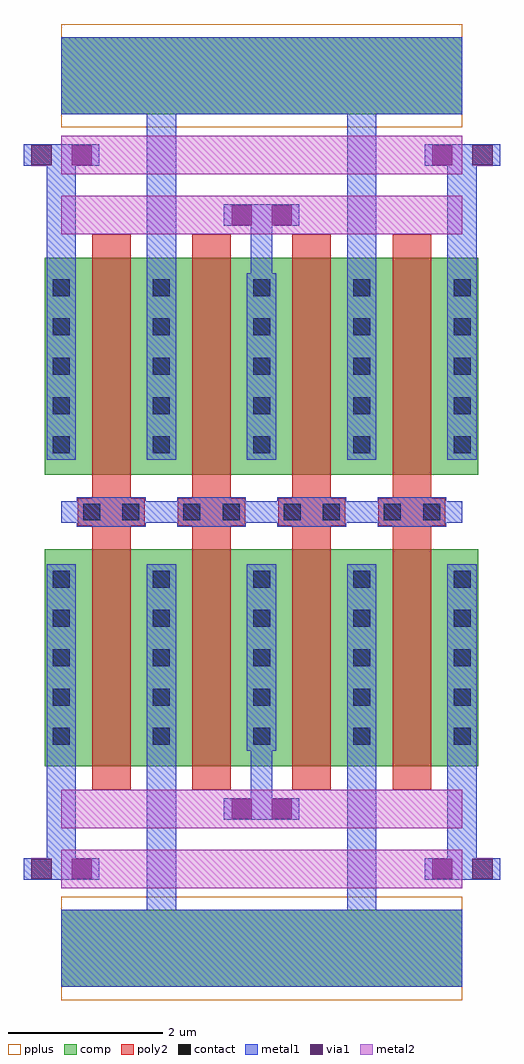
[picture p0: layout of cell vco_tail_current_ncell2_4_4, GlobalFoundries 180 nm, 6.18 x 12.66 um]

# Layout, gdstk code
import gdstk
lib = gdstk.Library(unit=1e-6, precision=5e-09)
def R(c, l, rs):  # rectangles x0, y0, x1, y1
    for r in rs: c.add(gdstk.rectangle(r[:2], r[2:], *l))
def A(c, l, x, y, w, h, nx, ny, dx, dy):  # array of equal rectangles
    R(c, l, [(x+i*dx, y+j*dy, x+i*dx+w, y+j*dy+h) for i in range(nx) for j in range(ny)])
comp = (22, 0)
poly2 = (30, 0)
pplus = (31, 0)
contact = (33, 0)
metal1 = (34, 0)
via1 = (35, 0)
metal2 = (36, 0)

vco_tail_current_ncell2_ = lib.new_cell('vco_tail_current_ncell2_1$2')
R(vco_tail_current_ncell2_, comp, [(0,0.3,0.42,3.12), (0.42,0.3,1.3,3.12), (1.3,0.3,1.72,3.12)])
R(vco_tail_current_ncell2_, poly2, [(0.61,0,1.11,3.42)])
A(vco_tail_current_ncell2_, contact, 0.1, 0.58, 0.22, 0.22, 1, 5, 0, 0.51)
A(vco_tail_current_ncell2_, contact, 1.4, 0.58, 0.22, 0.22, 1, 5, 0, 0.51)
R(vco_tail_current_ncell2_, metal1, [(0.02,0.5,0.4,2.92), (1.32,0.5,1.7,2.92)])

c_vco_tail_current_ncell2_ = lib.new_cell('vco_tail_current_ncell2_4')
A(c_vco_tail_current_ncell2_, poly2, 0.425, 3.42, 0.87, 0.36, 4, 1, 1.3, 0)
R(c_vco_tail_current_ncell2_, contact, [(0.495,3.49,0.715,3.71), (1.005,3.49,1.225,3.71), (1.795,3.49,2.015,3.71), (2.305,3.49,2.525,3.71), (3.095,3.49,3.315,3.71), (3.605,3.49,3.825,3.71), (4.395,3.49,4.615,3.71), (4.905,3.49,5.125,3.71)])
A(c_vco_tail_current_ncell2_, metal1, 0.415, 3.41, 0.89, 0.38, 4, 1, 1.3, 0)
c_vco_tail_current_ncell2_.add(gdstk.Reference(vco_tail_current_ncell2_, (0,0)))
c_vco_tail_current_ncell2_.add(gdstk.Reference(vco_tail_current_ncell2_, (1.3,0)))
c_vco_tail_current_ncell2_.add(gdstk.Reference(vco_tail_current_ncell2_, (2.6,0)))
c_vco_tail_current_ncell2_.add(gdstk.Reference(vco_tail_current_ncell2_, (3.9,0)))

c_vco_tail_current_ncell2__ = lib.new_cell('vco_tail_current_ncell2_4_4')
R(c_vco_tail_current_ncell2__, via1, [(0.1,1.57,0.36,1.83), (0.62,1.57,0.88,1.83), (5.3,1.57,5.56,1.83), (5.82,1.57,6.08,1.83), (2.695,2.35,2.955,2.61), (3.215,2.35,3.475,2.61), (2.695,10.05,2.955,10.31), (3.215,10.05,3.475,10.31), (0.1,10.83,0.36,11.09), (0.62,10.83,0.88,11.09), (5.3,10.83,5.56,11.09), (5.82,10.83,6.08,11.09)])
c_vco_tail_current_ncell2__.add(gdstk.FlexPath([(0,10.96),(0.98,10.96)], 0.28, ends="flush", simple_path=True, layer=34, datatype=0))  # metal1
c_vco_tail_current_ncell2__.add(gdstk.FlexPath([(5.2,10.96),(6.18,10.96)], 0.28, ends="flush", simple_path=True, layer=34, datatype=0))  # metal1
c_vco_tail_current_ncell2__.add(gdstk.FlexPath([(0.485,11.99),(5.685,11.99)], 1, ends="flush", simple_path=True, layer=34, datatype=0))  # metal1
c_vco_tail_current_ncell2__.add(gdstk.FlexPath([(2.595,10.18),(3.575,10.18)], 0.28, ends="flush", simple_path=True, layer=34, datatype=0))  # metal1
c_vco_tail_current_ncell2__.add(gdstk.FlexPath([(3.085,9.43),(3.085,10.04)], 0.28, ends="flush", simple_path=True, layer=34, datatype=0))  # metal1
c_vco_tail_current_ncell2__.add(gdstk.FlexPath([(0.485,9.43),(0.485,10.82)], 0.38, ends="flush", simple_path=True, layer=34, datatype=0))  # metal1
c_vco_tail_current_ncell2__.add(gdstk.FlexPath([(5.685,9.43),(5.685,10.82)], 0.38, ends="flush", simple_path=True, layer=34, datatype=0))  # metal1
c_vco_tail_current_ncell2__.add(gdstk.FlexPath([(1.785,11.49),(1.785,9.43)], 0.38, ends="flush", simple_path=True, layer=34, datatype=0))  # metal1
c_vco_tail_current_ncell2__.add(gdstk.FlexPath([(4.385,11.49),(4.385,9.43)], 0.38, ends="flush", simple_path=True, layer=34, datatype=0))  # metal1
c_vco_tail_current_ncell2__.add(gdstk.FlexPath([(0,1.7),(0.98,1.7)], 0.28, ends="flush", simple_path=True, layer=34, datatype=0))  # metal1
c_vco_tail_current_ncell2__.add(gdstk.FlexPath([(5.2,1.7),(6.18,1.7)], 0.28, ends="flush", simple_path=True, layer=34, datatype=0))  # metal1
c_vco_tail_current_ncell2__.add(gdstk.FlexPath([(0.485,0.67),(5.685,0.67)], 1, ends="flush", simple_path=True, layer=34, datatype=0))  # metal1
c_vco_tail_current_ncell2__.add(gdstk.FlexPath([(2.595,2.48),(3.575,2.48)], 0.28, ends="flush", simple_path=True, layer=34, datatype=0))  # metal1
c_vco_tail_current_ncell2__.add(gdstk.FlexPath([(3.085,3.23),(3.085,2.62)], 0.28, ends="flush", simple_path=True, layer=34, datatype=0))  # metal1
c_vco_tail_current_ncell2__.add(gdstk.FlexPath([(0.485,3.23),(0.485,1.84)], 0.38, ends="flush", simple_path=True, layer=34, datatype=0))  # metal1
c_vco_tail_current_ncell2__.add(gdstk.FlexPath([(5.685,3.23),(5.685,1.84)], 0.38, ends="flush", simple_path=True, layer=34, datatype=0))  # metal1
c_vco_tail_current_ncell2__.add(gdstk.FlexPath([(1.785,1.17),(1.785,3.23)], 0.38, ends="flush", simple_path=True, layer=34, datatype=0))  # metal1
c_vco_tail_current_ncell2__.add(gdstk.FlexPath([(4.385,1.17),(4.385,3.23)], 0.38, ends="flush", simple_path=True, layer=34, datatype=0))  # metal1
c_vco_tail_current_ncell2__.add(gdstk.FlexPath([(5.685,6.33),(0.485,6.33)], 0.28, ends="flush", simple_path=True, layer=34, datatype=0))  # metal1
c_vco_tail_current_ncell2__.add(gdstk.FlexPath([(0.485,11.99),(5.685,11.99)], 1, ends="flush", simple_path=True, layer=22, datatype=0))  # comp
c_vco_tail_current_ncell2__.add(gdstk.FlexPath([(0.485,0.67),(5.685,0.67)], 1, ends="flush", simple_path=True, layer=22, datatype=0))  # comp
c_vco_tail_current_ncell2__.add(gdstk.FlexPath([(0.485,10.18),(5.685,10.18)], 0.5, ends="flush", simple_path=True, layer=36, datatype=0))  # metal2
c_vco_tail_current_ncell2__.add(gdstk.FlexPath([(0.485,2.48),(5.685,2.48)], 0.5, ends="flush", simple_path=True, layer=36, datatype=0))  # metal2
c_vco_tail_current_ncell2__.add(gdstk.FlexPath([(0.485,10.96),(5.685,10.96)], 0.5, ends="flush", simple_path=True, layer=36, datatype=0))  # metal2
c_vco_tail_current_ncell2__.add(gdstk.FlexPath([(0.485,1.7),(5.685,1.7)], 0.5, ends="flush", simple_path=True, layer=36, datatype=0))  # metal2
c_vco_tail_current_ncell2__.add(gdstk.FlexPath([(0.485,11.99),(5.685,11.99)], 1.34, ends="flush", simple_path=True, layer=31, datatype=0))  # pplus
c_vco_tail_current_ncell2__.add(gdstk.FlexPath([(0.485,0.67),(5.685,0.67)], 1.34, ends="flush", simple_path=True, layer=31, datatype=0))  # pplus
c_vco_tail_current_ncell2__.add(gdstk.Reference(c_vco_tail_current_ncell2_, (0.275,2.73)))
c_vco_tail_current_ncell2__.add(gdstk.Reference(c_vco_tail_current_ncell2_, (0.275,9.93), x_reflection=True))

lib.write_gds('vco_tail_current_ncell2_4_4.gds')
